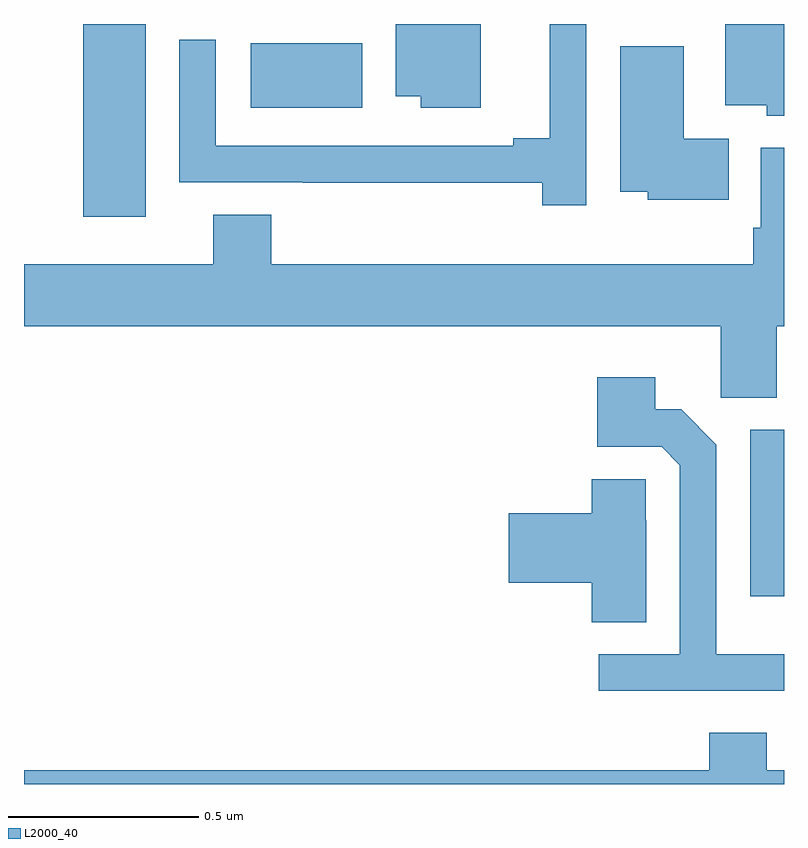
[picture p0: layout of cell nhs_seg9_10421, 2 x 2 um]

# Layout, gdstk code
import gdstk
lib = gdstk.Library(unit=1e-6, precision=1e-09)
def R(c, l, rs):  # rectangles x0, y0, x1, y1
    for r in rs: c.add(gdstk.rectangle(r[:2], r[2:], *l))
def P(c, l, *ps):  # polygons
    for p in ps: c.add(gdstk.Polygon(p, *l))
L2000_40 = (2000, 40)

nhs_seg9_10421 = lib.new_cell('nhs_seg9_10421')
R(nhs_seg9_10421, L2000_40, [(243.911,1244.994,244,1245.432), (242.156,1245.993,242.32,1246.5), (242.597,1246.28,242.89,1246.45)])
P(nhs_seg9_10421, L2000_40, [(243.48,1246.5),(243.383,1246.5),(243.383,1246.199),(243.287,1246.199),(243.287,1246.179),(242.505,1246.179),(242.505,1246.459),(242.409,1246.459),(242.409,1246.083),(242.734,1246.083),(242.734,1246.082),(243.364,1246.082),(243.364,1246.023),(243.48,1246.023)],
  [(243.202,1246.5),(242.978,1246.5),(242.978,1246.31),(243.044,1246.31),(243.044,1246.28),(243.202,1246.28)],
  [(244,1246.5),(243.845,1246.5),(243.845,1246.286),(243.954,1246.286),(243.954,1246.259),(244,1246.259)],
  [(243.854,1246.198),(243.736,1246.198),(243.736,1246.442),(243.569,1246.442),(243.569,1246.058),(243.642,1246.058),(243.642,1246.037),(243.854,1246.037)],
  [(243.981,1245.704),(244,1245.704),(244,1246.174),(243.939,1246.174),(243.939,1245.964),(243.919,1245.964),(243.919,1245.868),(242.651,1245.868),(242.651,1245.998),(242.498,1245.998),(242.498,1245.868),(242,1245.868),(242,1245.704),(243.834,1245.704),(243.834,1245.517),(243.981,1245.517)],
  [(244,1244.842),(243.822,1244.842),(243.822,1245.393),(243.729,1245.486),(243.661,1245.486),(243.661,1245.571),(243.509,1245.571),(243.509,1245.387),(243.678,1245.387),(243.726,1245.339),(243.726,1244.841),(243.513,1244.841),(243.513,1244.745),(244,1244.745)],
  [(243.637,1245.194),(243.636,1245.194),(243.636,1245.302),(243.494,1245.302),(243.494,1245.212),(243.276,1245.212),(243.276,1245.029),(243.494,1245.029),(243.494,1244.926),(243.637,1244.926)],
  [(244,1244.536),(243.955,1244.536),(243.955,1244.635),(243.803,1244.635),(243.803,1244.536),(242,1244.536),(242,1244.5),(244,1244.5)])

lib.write_gds('nhs_seg9_10421.gds')
